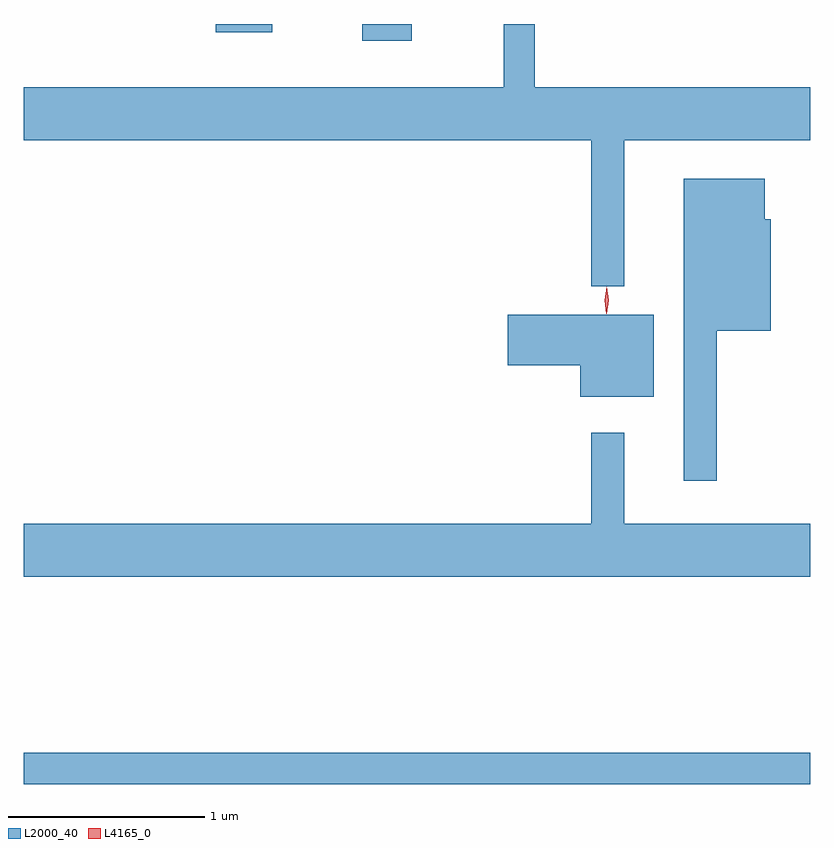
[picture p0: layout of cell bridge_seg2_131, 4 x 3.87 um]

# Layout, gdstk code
import gdstk
lib = gdstk.Library(unit=1e-6, precision=1e-09)
def R(c, l, rs):  # rectangles x0, y0, x1, y1
    for r in rs: c.add(gdstk.rectangle(r[:2], r[2:], *l))
def P(c, l, *ps):  # polygons
    for p in ps: c.add(gdstk.Polygon(p, *l))
L2000_40 = (2000, 40)
L4165_0 = (4165, 0)

bridge_seg2_131 = lib.new_cell('bridge_seg2_131')
R(bridge_seg2_131, L2000_40, [(981.695,1045.041,985.695,1045.199), (983.416,1048.821,983.669,1048.907), (982.671,1048.866,982.958,1048.907)])
P(bridge_seg2_131, L2000_40, [(984.749,1048.316),(985.695,1048.316),(985.695,1048.584),(984.294,1048.584),(984.294,1048.907),(984.136,1048.907),(984.136,1048.584),(981.695,1048.584),(981.695,1048.316),(984.581,1048.316),(984.581,1047.573),(984.749,1047.573)],
  [(985.219,1047.346),(985.494,1047.346),(985.494,1047.914),(985.464,1047.914),(985.464,1048.119),(985.051,1048.119),(985.051,1046.583),(985.219,1046.583)],
  [(984.899,1047.429),(984.156,1047.429),(984.156,1047.171),(984.526,1047.171),(984.526,1047.011),(984.899,1047.011)],
  [(985.695,1046.364),(984.749,1046.364),(984.749,1046.828),(984.581,1046.828),(984.581,1046.364),(981.695,1046.364),(981.695,1046.096),(985.695,1046.096)])
P(bridge_seg2_131, L4165_0, [(984.658,1047.44),(984.657,1047.441),(984.649,1047.504),(984.66,1047.566),(984.66,1047.567),(984.661,1047.566),(984.669,1047.503),(984.658,1047.441)],
  [(984.658,1047.434),(984.65,1047.502),(984.66,1047.57),(984.66,1047.57),(984.661,1047.57),(984.67,1047.502),(984.659,1047.434),(984.659,1047.434)])

lib.write_gds('bridge_seg2_131.gds')
